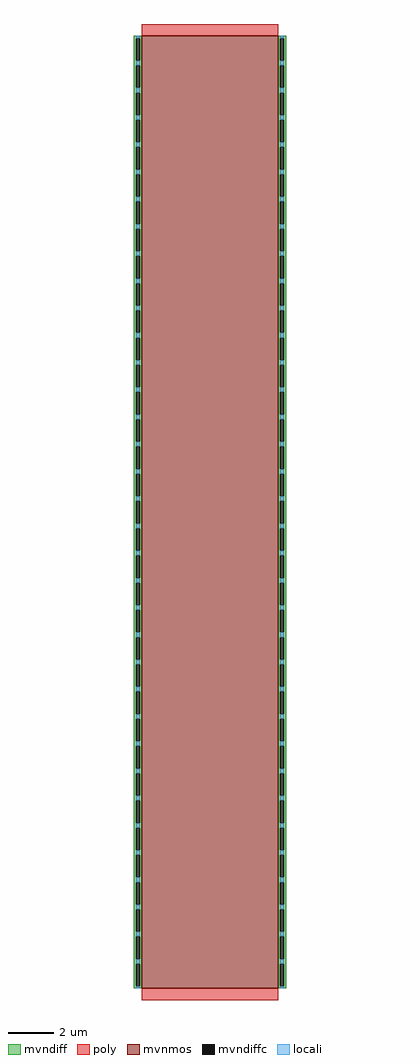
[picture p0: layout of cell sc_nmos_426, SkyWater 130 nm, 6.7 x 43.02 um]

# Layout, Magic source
magic
tech sky130A
<< mvnmos >>
rect 225 601 825 4801
<< mvndiff >>
rect 190 4790 225 4801
rect 190 4690 199 4790
rect 216 4690 225 4790
rect 190 4670 225 4690
rect 190 4570 199 4670
rect 216 4570 225 4670
rect 190 4550 225 4570
rect 190 4450 199 4550
rect 216 4450 225 4550
rect 190 4430 225 4450
rect 190 4330 199 4430
rect 216 4330 225 4430
rect 190 4310 225 4330
rect 190 4210 199 4310
rect 216 4210 225 4310
rect 190 4190 225 4210
rect 190 4090 199 4190
rect 216 4090 225 4190
rect 190 4070 225 4090
rect 190 3970 199 4070
rect 216 3970 225 4070
rect 190 3950 225 3970
rect 190 3850 199 3950
rect 216 3850 225 3950
rect 190 3830 225 3850
rect 190 3730 199 3830
rect 216 3730 225 3830
rect 190 3710 225 3730
rect 190 3610 199 3710
rect 216 3610 225 3710
rect 190 3590 225 3610
rect 190 3490 199 3590
rect 216 3490 225 3590
rect 190 3470 225 3490
rect 190 3370 199 3470
rect 216 3370 225 3470
rect 190 3350 225 3370
rect 190 3250 199 3350
rect 216 3250 225 3350
rect 190 3230 225 3250
rect 190 3130 199 3230
rect 216 3130 225 3230
rect 190 3110 225 3130
rect 190 3010 199 3110
rect 216 3010 225 3110
rect 190 2990 225 3010
rect 190 2890 199 2990
rect 216 2890 225 2990
rect 190 2870 225 2890
rect 190 2770 199 2870
rect 216 2770 225 2870
rect 190 2750 225 2770
rect 190 2650 199 2750
rect 216 2650 225 2750
rect 190 2630 225 2650
rect 190 2530 199 2630
rect 216 2530 225 2630
rect 190 2510 225 2530
rect 190 2410 199 2510
rect 216 2410 225 2510
rect 190 2390 225 2410
rect 190 2290 199 2390
rect 216 2290 225 2390
rect 190 2270 225 2290
rect 190 2170 199 2270
rect 216 2170 225 2270
rect 190 2150 225 2170
rect 190 2050 199 2150
rect 216 2050 225 2150
rect 190 2030 225 2050
rect 190 1930 199 2030
rect 216 1930 225 2030
rect 190 1910 225 1930
rect 190 1810 199 1910
rect 216 1810 225 1910
rect 190 1790 225 1810
rect 190 1690 199 1790
rect 216 1690 225 1790
rect 190 1670 225 1690
rect 190 1570 199 1670
rect 216 1570 225 1670
rect 190 1550 225 1570
rect 190 1450 199 1550
rect 216 1450 225 1550
rect 190 1430 225 1450
rect 190 1330 199 1430
rect 216 1330 225 1430
rect 190 1310 225 1330
rect 190 1210 199 1310
rect 216 1210 225 1310
rect 190 1190 225 1210
rect 190 1090 199 1190
rect 216 1090 225 1190
rect 190 1070 225 1090
rect 190 970 199 1070
rect 216 970 225 1070
rect 190 950 225 970
rect 190 850 199 950
rect 216 850 225 950
rect 190 830 225 850
rect 190 730 199 830
rect 216 730 225 830
rect 190 710 225 730
rect 190 610 199 710
rect 216 610 225 710
rect 190 601 225 610
rect 825 4790 860 4801
rect 825 4690 834 4790
rect 851 4690 860 4790
rect 825 4670 860 4690
rect 825 4570 834 4670
rect 851 4570 860 4670
rect 825 4550 860 4570
rect 825 4450 834 4550
rect 851 4450 860 4550
rect 825 4430 860 4450
rect 825 4330 834 4430
rect 851 4330 860 4430
rect 825 4310 860 4330
rect 825 4210 834 4310
rect 851 4210 860 4310
rect 825 4190 860 4210
rect 825 4090 834 4190
rect 851 4090 860 4190
rect 825 4070 860 4090
rect 825 3970 834 4070
rect 851 3970 860 4070
rect 825 3950 860 3970
rect 825 3850 834 3950
rect 851 3850 860 3950
rect 825 3830 860 3850
rect 825 3730 834 3830
rect 851 3730 860 3830
rect 825 3710 860 3730
rect 825 3610 834 3710
rect 851 3610 860 3710
rect 825 3590 860 3610
rect 825 3490 834 3590
rect 851 3490 860 3590
rect 825 3470 860 3490
rect 825 3370 834 3470
rect 851 3370 860 3470
rect 825 3350 860 3370
rect 825 3250 834 3350
rect 851 3250 860 3350
rect 825 3230 860 3250
rect 825 3130 834 3230
rect 851 3130 860 3230
rect 825 3110 860 3130
rect 825 3010 834 3110
rect 851 3010 860 3110
rect 825 2990 860 3010
rect 825 2890 834 2990
rect 851 2890 860 2990
rect 825 2870 860 2890
rect 825 2770 834 2870
rect 851 2770 860 2870
rect 825 2750 860 2770
rect 825 2650 834 2750
rect 851 2650 860 2750
rect 825 2630 860 2650
rect 825 2530 834 2630
rect 851 2530 860 2630
rect 825 2510 860 2530
rect 825 2410 834 2510
rect 851 2410 860 2510
rect 825 2390 860 2410
rect 825 2290 834 2390
rect 851 2290 860 2390
rect 825 2270 860 2290
rect 825 2170 834 2270
rect 851 2170 860 2270
rect 825 2150 860 2170
rect 825 2050 834 2150
rect 851 2050 860 2150
rect 825 2030 860 2050
rect 825 1930 834 2030
rect 851 1930 860 2030
rect 825 1910 860 1930
rect 825 1810 834 1910
rect 851 1810 860 1910
rect 825 1790 860 1810
rect 825 1690 834 1790
rect 851 1690 860 1790
rect 825 1670 860 1690
rect 825 1570 834 1670
rect 851 1570 860 1670
rect 825 1550 860 1570
rect 825 1450 834 1550
rect 851 1450 860 1550
rect 825 1430 860 1450
rect 825 1330 834 1430
rect 851 1330 860 1430
rect 825 1310 860 1330
rect 825 1210 834 1310
rect 851 1210 860 1310
rect 825 1190 860 1210
rect 825 1090 834 1190
rect 851 1090 860 1190
rect 825 1070 860 1090
rect 825 970 834 1070
rect 851 970 860 1070
rect 825 950 860 970
rect 825 850 834 950
rect 851 850 860 950
rect 825 830 860 850
rect 825 730 834 830
rect 851 730 860 830
rect 825 710 860 730
rect 825 610 834 710
rect 851 610 860 710
rect 825 601 860 610
<< mvndiffc >>
rect 199 4690 216 4790
rect 199 4570 216 4670
rect 199 4450 216 4550
rect 199 4330 216 4430
rect 199 4210 216 4310
rect 199 4090 216 4190
rect 199 3970 216 4070
rect 199 3850 216 3950
rect 199 3730 216 3830
rect 199 3610 216 3710
rect 199 3490 216 3590
rect 199 3370 216 3470
rect 199 3250 216 3350
rect 199 3130 216 3230
rect 199 3010 216 3110
rect 199 2890 216 2990
rect 199 2770 216 2870
rect 199 2650 216 2750
rect 199 2530 216 2630
rect 199 2410 216 2510
rect 199 2290 216 2390
rect 199 2170 216 2270
rect 199 2050 216 2150
rect 199 1930 216 2030
rect 199 1810 216 1910
rect 199 1690 216 1790
rect 199 1570 216 1670
rect 199 1450 216 1550
rect 199 1330 216 1430
rect 199 1210 216 1310
rect 199 1090 216 1190
rect 199 970 216 1070
rect 199 850 216 950
rect 199 730 216 830
rect 199 610 216 710
rect 834 4690 851 4790
rect 834 4570 851 4670
rect 834 4450 851 4550
rect 834 4330 851 4430
rect 834 4210 851 4310
rect 834 4090 851 4190
rect 834 3970 851 4070
rect 834 3850 851 3950
rect 834 3730 851 3830
rect 834 3610 851 3710
rect 834 3490 851 3590
rect 834 3370 851 3470
rect 834 3250 851 3350
rect 834 3130 851 3230
rect 834 3010 851 3110
rect 834 2890 851 2990
rect 834 2770 851 2870
rect 834 2650 851 2750
rect 834 2530 851 2630
rect 834 2410 851 2510
rect 834 2290 851 2390
rect 834 2170 851 2270
rect 834 2050 851 2150
rect 834 1930 851 2030
rect 834 1810 851 1910
rect 834 1690 851 1790
rect 834 1570 851 1670
rect 834 1450 851 1550
rect 834 1330 851 1430
rect 834 1210 851 1310
rect 834 1090 851 1190
rect 834 970 851 1070
rect 834 850 851 950
rect 834 730 851 830
rect 834 610 851 710
<< poly >>
rect 225 4801 825 4852
rect 225 550 825 601
<< locali >>
rect 199 4790 216 4801
rect 199 4670 216 4690
rect 199 4550 216 4570
rect 199 4430 216 4450
rect 199 4310 216 4330
rect 199 4190 216 4210
rect 199 4070 216 4090
rect 199 3950 216 3970
rect 199 3830 216 3850
rect 199 3710 216 3730
rect 199 3590 216 3610
rect 199 3470 216 3490
rect 199 3350 216 3370
rect 199 3230 216 3250
rect 199 3110 216 3130
rect 199 2990 216 3010
rect 199 2870 216 2890
rect 199 2750 216 2770
rect 199 2630 216 2650
rect 199 2510 216 2530
rect 199 2390 216 2410
rect 199 2270 216 2290
rect 199 2150 216 2170
rect 199 2030 216 2050
rect 199 1910 216 1930
rect 199 1790 216 1810
rect 199 1670 216 1690
rect 199 1550 216 1570
rect 199 1430 216 1450
rect 199 1310 216 1330
rect 199 1190 216 1210
rect 199 1070 216 1090
rect 199 950 216 970
rect 199 830 216 850
rect 199 710 216 730
rect 199 601 216 610
rect 834 4790 851 4801
rect 834 4670 851 4690
rect 834 4550 851 4570
rect 834 4430 851 4450
rect 834 4310 851 4330
rect 834 4190 851 4210
rect 834 4070 851 4090
rect 834 3950 851 3970
rect 834 3830 851 3850
rect 834 3710 851 3730
rect 834 3590 851 3610
rect 834 3470 851 3490
rect 834 3350 851 3370
rect 834 3230 851 3250
rect 834 3110 851 3130
rect 834 2990 851 3010
rect 834 2870 851 2890
rect 834 2750 851 2770
rect 834 2630 851 2650
rect 834 2510 851 2530
rect 834 2390 851 2410
rect 834 2270 851 2290
rect 834 2150 851 2170
rect 834 2030 851 2050
rect 834 1910 851 1930
rect 834 1790 851 1810
rect 834 1670 851 1690
rect 834 1550 851 1570
rect 834 1430 851 1450
rect 834 1310 851 1330
rect 834 1190 851 1210
rect 834 1070 851 1090
rect 834 950 851 970
rect 834 830 851 850
rect 834 710 851 730
rect 834 601 851 610
<< end >>
